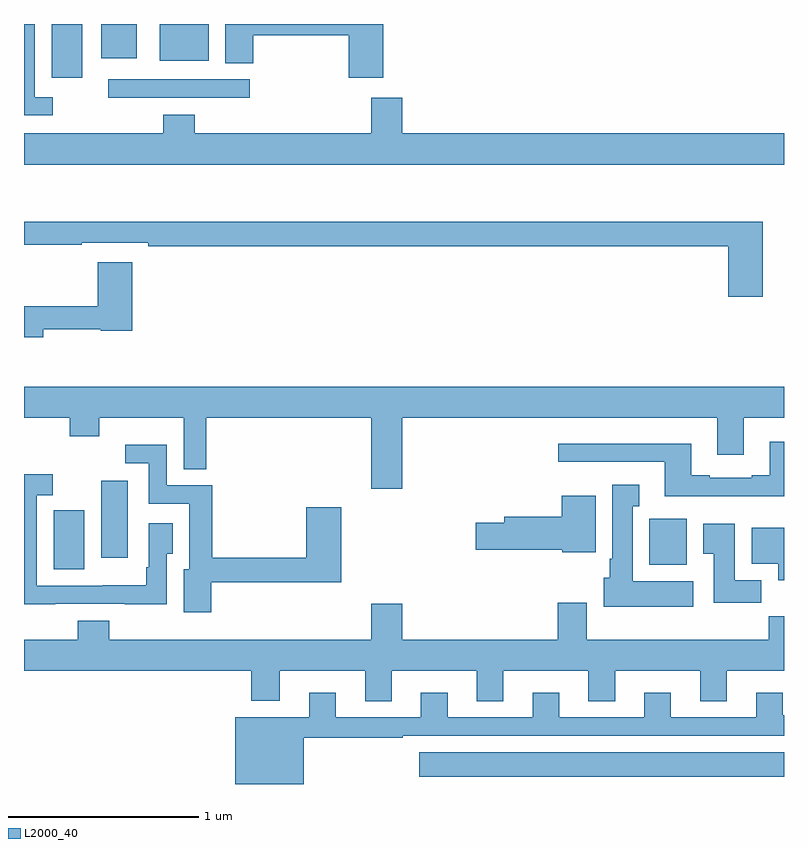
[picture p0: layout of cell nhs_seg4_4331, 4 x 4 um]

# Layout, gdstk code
import gdstk
lib = gdstk.Library(unit=1e-6, precision=1e-09)
def R(c, l, rs):  # rectangles x0, y0, x1, y1
    for r in rs: c.add(gdstk.rectangle(r[:2], r[2:], *l))
def P(c, l, *ps):  # polygons
    for p in ps: c.add(gdstk.Polygon(p, *l))
L2000_40 = (2000, 40)

nhs_seg4_4331 = lib.new_cell('nhs_seg4_4331')
R(nhs_seg4_4331, L2000_40, [(345.081,786.938,347,787.066), (343.157,788.029,343.318,788.34), (346.292,788.054,346.489,788.296), (343.406,788.091,343.546,788.497), (343.443,790.512,344.188,790.608), (343.145,790.617,343.306,790.9), (343.715,790.706,343.972,790.9), (343.406,790.721,343.594,790.9)])
P(nhs_seg4_4331, L2000_40, [(343.15,790.515),(343.056,790.515),(343.056,790.9),(343,790.9),(343,790.419),(343.15,790.419)],
  [(344.891,790.9),(344.06,790.9),(344.06,790.693),(344.207,790.693),(344.207,790.84),(344.708,790.84),(344.708,790.617),(344.891,790.617)],
  [(347,790.324),(344.992,790.324),(344.992,790.513),(344.828,790.513),(344.828,790.324),(343.898,790.324),(343.898,790.423),(343.733,790.423),(343.733,790.324),(343,790.324),(343,790.16),(347,790.16)],
  [(346.889,789.859),(343,789.859),(343,789.738),(343.304,789.738),(343.304,789.75),(343.654,789.75),(343.654,789.73),(346.706,789.73),(346.706,789.465),(346.889,789.465)],
  [(343.102,789.294),(343.404,789.294),(343.404,789.286),(343.571,789.286),(343.571,789.646),(343.388,789.646),(343.388,789.415),(343,789.415),(343,789.251),(343.102,789.251)],
  [(344.992,788.828),(346.649,788.828),(346.649,788.634),(346.789,788.634),(346.789,788.828),(347,788.828),(347,788.992),(343,788.992),(343,788.828),(343.24,788.828),(343.24,788.729),(343.395,788.729),(343.395,788.828),(343.841,788.828),(343.841,788.557),(343.96,788.557),(343.96,788.828),(344.828,788.828),(344.828,788.454),(344.992,788.454)],
  [(347,788.701),(346.925,788.701),(346.925,788.524),(346.829,788.524),(346.829,788.511),(346.609,788.511),(346.609,788.524),(346.513,788.524),(346.513,788.692),(345.813,788.692),(345.813,788.595),(346.373,788.595),(346.373,788.414),(347,788.414)],
  [(343.985,787.962),(344.669,787.962),(344.669,788.356),(344.486,788.356),(344.486,788.09),(343.99,788.09),(343.99,788.472),(343.752,788.472),(343.752,788.686),(343.533,788.686),(343.533,788.589),(343.656,788.589),(343.656,788.376),(343.871,788.376),(343.871,788.031),(343.841,788.031),(343.841,787.803),(343.985,787.803)],
  [(343.165,787.848),(343.531,787.848),(343.531,787.847),(343.752,787.847),(343.752,788.113),(343.783,788.113),(343.783,788.272),(343.656,788.272),(343.656,788.041),(343.644,788.041),(343.644,787.945),(343.414,787.945),(343.414,787.944),(343.068,787.944),(343.068,788.421),(343.15,788.421),(343.15,788.53),(343,788.53),(343,787.847),(343.165,787.847)],
  [(346.522,787.966),(346.204,787.966),(346.204,788.363),(346.237,788.363),(346.237,788.476),(346.097,788.476),(346.097,788.086),(346.082,788.086),(346.082,787.986),(346.052,787.986),(346.052,787.832),(346.522,787.832)],
  [(346.009,788.416),(345.83,788.416),(345.83,788.306),(345.527,788.306),(345.527,788.276),(345.378,788.276),(345.378,788.134),(345.834,788.134),(345.834,788.12),(346.009,788.12)],
  [(346.88,787.972),(346.741,787.972),(346.741,788.269),(346.574,788.269),(346.574,788.113),(346.631,788.113),(346.631,787.854),(346.88,787.854)],
  [(347,788.248),(346.829,788.248),(346.829,788.06),(346.97,788.06),(346.97,787.973),(347,787.973)],
  [(344.935,787.496),(345.383,787.496),(345.383,787.336),(345.523,787.336),(345.523,787.496),(345.971,787.496),(345.971,787.336),(346.111,787.336),(346.111,787.496),(346.559,787.496),(346.559,787.336),(346.699,787.336),(346.699,787.496),(347,787.496),(347,787.784),(346.921,787.784),(346.921,787.66),(345.961,787.66),(345.961,787.855),(345.809,787.855),(345.809,787.66),(344.992,787.66),(344.992,787.849),(344.828,787.849),(344.828,787.66),(343.448,787.66),(343.448,787.759),(343.283,787.759),(343.283,787.66),(343,787.66),(343,787.496),(344.195,787.496),(344.195,787.337),(344.347,787.337),(344.347,787.496),(344.795,787.496),(344.795,787.336),(344.935,787.336)],
  [(344.473,787.143),(344.993,787.143),(344.993,787.155),(347,787.155),(347,787.263),(346.993,787.263),(346.993,787.381),(346.853,787.381),(346.853,787.251),(346.405,787.251),(346.405,787.381),(346.265,787.381),(346.265,787.251),(345.817,787.251),(345.817,787.381),(345.677,787.381),(345.677,787.251),(345.229,787.251),(345.229,787.381),(345.089,787.381),(345.089,787.251),(344.641,787.251),(344.641,787.381),(344.501,787.381),(344.501,787.252),(344.111,787.252),(344.111,786.9),(344.473,786.9)])

lib.write_gds('nhs_seg4_4331.gds')
